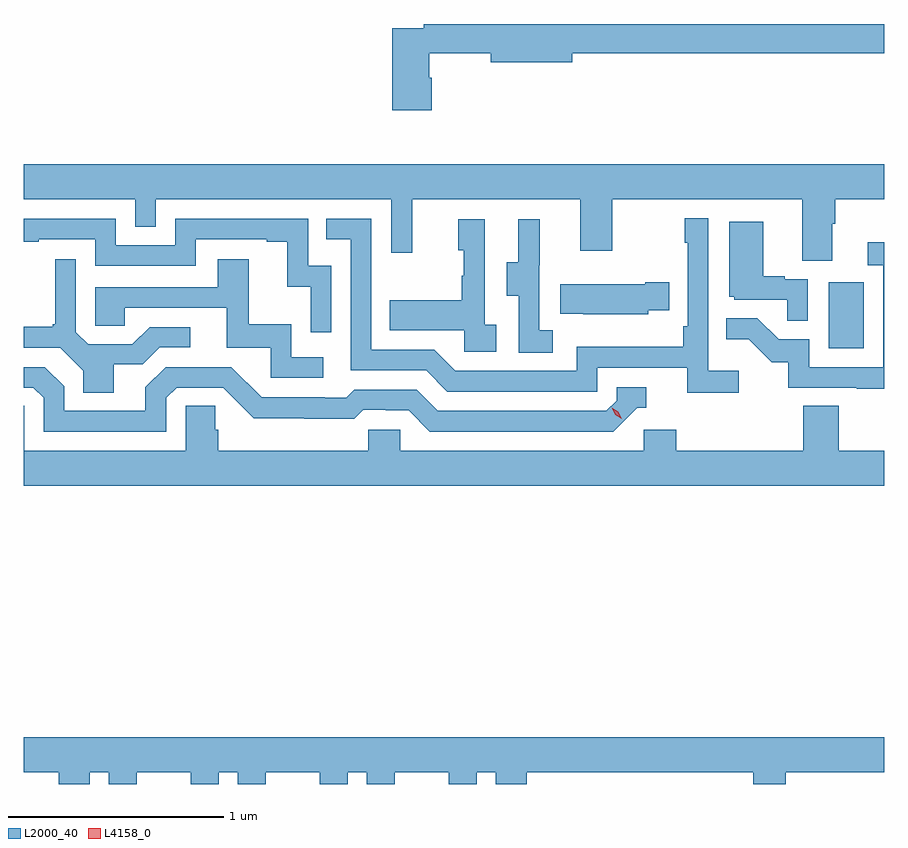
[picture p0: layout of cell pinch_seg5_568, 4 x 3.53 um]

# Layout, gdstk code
import gdstk
lib = gdstk.Library(unit=1e-6, precision=1e-09)
def R(c, l, rs):  # rectangles x0, y0, x1, y1
    for r in rs: c.add(gdstk.rectangle(r[:2], r[2:], *l))
def P(c, l, *ps):  # polygons
    for p in ps: c.add(gdstk.Polygon(p, *l))
L2000_40 = (2000, 40)
L4158_0 = (4158, 0)

pinch_seg5_568 = lib.new_cell('pinch_seg5_568')
R(pinch_seg5_568, L2000_40, [(1118.63,866.724,1118.794,867.031)])
P(pinch_seg5_568, L2000_40, [(1116.785,867.981),(1116.772,867.981),(1116.772,868.096),(1117.058,868.096),(1117.058,868.054),(1117.438,868.054),(1117.438,868.096),(1118.888,868.096),(1118.888,868.232),(1116.748,868.232),(1116.748,868.212),(1116.602,868.212),(1116.602,867.831),(1116.785,867.831)],
  [(1118.647,867.304),(1118.66,867.304),(1118.66,867.416),(1118.888,867.416),(1118.888,867.58),(1114.888,867.58),(1114.888,867.416),(1115.406,867.416),(1115.406,867.289),(1115.502,867.289),(1115.502,867.416),(1116.597,867.416),(1116.597,867.168),(1116.695,867.168),(1116.695,867.416),(1117.475,867.416),(1117.475,867.177),(1117.623,867.177),(1117.623,867.416),(1118.507,867.416),(1118.507,867.13),(1118.647,867.13)],
  [(1118.212,866.62),(1118.07,866.62),(1118.07,867.328),(1117.962,867.328),(1117.962,867.215),(1117.974,867.215),(1117.974,866.827),(1117.954,866.827),(1117.954,866.731),(1117.458,866.731),(1117.458,866.619),(1116.894,866.619),(1116.795,866.718),(1116.504,866.718),(1116.504,867.327),(1116.295,867.327),(1116.295,867.231),(1116.408,867.231),(1116.408,866.622),(1116.758,866.622),(1116.857,866.523),(1117.554,866.523),(1117.554,866.634),(1117.973,866.634),(1117.973,866.518),(1118.212,866.518)],
  [(1116.318,867.108),(1116.21,867.108),(1116.21,867.327),(1115.592,867.327),(1115.592,867.204),(1115.316,867.204),(1115.316,867.327),(1114.888,867.327),(1114.888,867.219),(1114.957,867.219),(1114.957,867.231),(1115.22,867.231),(1115.22,867.108),(1115.688,867.108),(1115.688,867.231),(1116.017,867.231),(1116.017,867.219),(1116.113,867.219),(1116.113,867.011),(1116.222,867.011),(1116.222,866.799),(1116.318,866.799)],
  [(1117.084,866.834),(1117.032,866.834),(1117.032,867.325),(1116.908,867.325),(1116.908,867.18),(1116.934,867.18),(1116.934,867.062),(1116.924,867.062),(1116.924,866.947),(1116.589,866.947),(1116.589,866.807),(1116.936,866.807),(1116.936,866.709),(1117.084,866.709)],
  [(1117.348,866.807),(1117.284,866.807),(1117.284,867.111),(1117.286,867.111),(1117.286,867.325),(1117.187,867.325),(1117.187,867.123),(1117.133,867.123),(1117.133,866.968),(1117.188,866.968),(1117.188,866.704),(1117.348,866.704)],
  [(1118.532,867.045),(1118.426,867.045),(1118.426,867.058),(1118.326,867.058),(1118.326,867.313),(1118.168,867.313),(1118.168,866.964),(1118.19,866.964),(1118.19,866.949),(1118.437,866.949),(1118.437,866.851),(1118.532,866.851)],
  [(1118.888,867.217),(1118.811,867.217),(1118.811,867.111),(1118.883,867.111),(1118.883,866.637),(1118.541,866.637),(1118.541,866.766),(1118.397,866.766),(1118.299,866.864),(1118.155,866.864),(1118.155,866.765),(1118.259,866.765),(1118.366,866.658),(1118.443,866.658),(1118.443,866.541),(1118.761,866.541),(1118.761,866.536),(1118.888,866.536)],
  [(1115.305,866.65),(1115.44,866.65),(1115.52,866.73),(1115.662,866.73),(1115.662,866.823),(1115.474,866.823),(1115.393,866.742),(1115.187,866.742),(1115.13,866.799),(1115.13,867.139),(1115.033,867.139),(1115.033,866.836),(1115.022,866.836),(1115.022,866.824),(1114.888,866.824),(1114.888,866.727),(1115.058,866.727),(1115.165,866.62),(1115.165,866.518),(1115.305,866.518)],
  [(1116.28,866.682),(1116.132,866.682),(1116.132,866.836),(1115.933,866.836),(1115.933,867.139),(1115.789,867.139),(1115.789,867.009),(1115.22,867.009),(1115.22,866.829),(1115.357,866.829),(1115.357,866.913),(1115.831,866.913),(1115.831,866.727),(1116.036,866.727),(1116.036,866.586),(1116.28,866.586)],
  [(1117.791,866.9),(1117.889,866.9),(1117.889,867.03),(1117.778,867.03),(1117.778,867.022),(1117.381,867.022),(1117.381,866.885),(1117.489,866.885),(1117.489,866.882),(1117.791,866.882)],
  [(1115.55,866.493),(1115.598,866.541),(1115.814,866.541),(1115.956,866.399),(1116.192,866.399),(1116.192,866.397),(1116.425,866.397),(1116.467,866.439),(1116.57,866.439),(1116.57,866.436),(1116.677,866.436),(1116.776,866.337),(1117.629,866.337),(1117.74,866.448),(1117.783,866.448),(1117.783,866.544),(1117.644,866.544),(1117.644,866.481),(1117.596,866.433),(1116.813,866.433),(1116.714,866.532),(1116.425,866.532),(1116.386,866.493),(1116.287,866.493),(1116.287,866.496),(1115.994,866.496),(1115.853,866.637),(1115.547,866.637),(1115.453,866.543),(1115.453,866.433),(1115.076,866.433),(1115.076,866.547),(1114.986,866.637),(1114.888,866.637),(1114.888,866.541),(1114.932,866.541),(1114.98,866.493),(1114.98,866.337),(1115.55,866.337)],
  [(1118.888,866.248),(1118.678,866.248),(1118.678,866.456),(1118.513,866.456),(1118.513,866.248),(1117.922,866.248),(1117.922,866.346),(1117.77,866.346),(1117.77,866.248),(1116.639,866.248),(1116.639,866.346),(1116.489,866.346),(1116.489,866.248),(1115.792,866.248),(1115.792,866.346),(1115.777,866.346),(1115.777,866.456),(1115.64,866.456),(1115.64,866.248),(1114.89,866.248),(1114.89,866.456),(1114.888,866.456),(1114.888,866.084),(1118.888,866.084)],
  [(1115.194,864.752),(1115.282,864.752),(1115.282,864.698),(1115.413,864.698),(1115.413,864.752),(1115.663,864.752),(1115.663,864.698),(1115.794,864.698),(1115.794,864.752),(1115.882,864.752),(1115.882,864.698),(1116.013,864.698),(1116.013,864.752),(1116.263,864.752),(1116.263,864.698),(1116.394,864.698),(1116.394,864.752),(1116.482,864.752),(1116.482,864.698),(1116.613,864.698),(1116.613,864.752),(1116.863,864.752),(1116.863,864.698),(1116.994,864.698),(1116.994,864.752),(1117.082,864.752),(1117.082,864.698),(1117.226,864.698),(1117.226,864.752),(1118.279,864.752),(1118.279,864.698),(1118.431,864.698),(1118.431,864.752),(1118.888,864.752),(1118.888,864.916),(1114.888,864.916),(1114.888,864.752),(1115.051,864.752),(1115.051,864.698),(1115.194,864.698)])
P(pinch_seg5_568, L4158_0, [(1117.668,866.396),(1117.637,866.415),(1117.621,866.447),(1117.621,866.447),(1117.621,866.447),(1117.652,866.429),(1117.668,866.397),(1117.668,866.396)])

lib.write_gds('pinch_seg5_568.gds')
